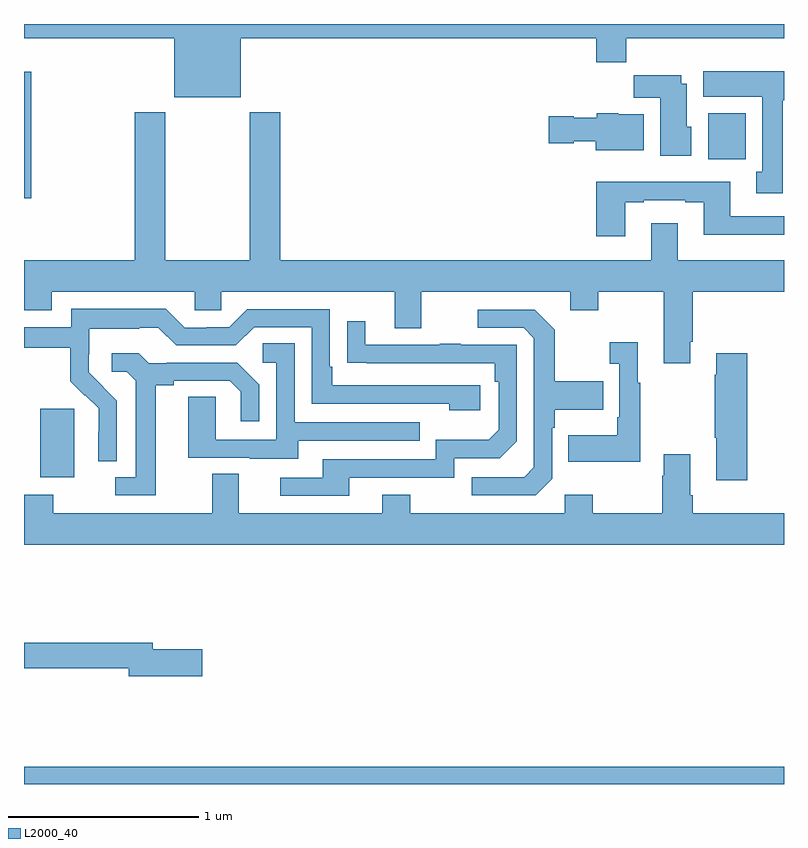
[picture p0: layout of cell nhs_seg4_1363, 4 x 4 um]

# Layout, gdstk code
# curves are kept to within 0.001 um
import gdstk
lib = gdstk.Library(unit=1e-6, precision=1e-09)
def R(c, l, rs):  # rectangles x0, y0, x1, y1
    for r in rs: c.add(gdstk.rectangle(r[:2], r[2:], *l))
def P(c, l, *ps):  # polygons
    for p in ps: c.add(gdstk.Polygon(p, *l))
L2000_40 = (2000, 40)

nhs_seg4_1363 = lib.new_cell('nhs_seg4_1363')
R(nhs_seg4_1363, L2000_40, [(181,788.9,185,788.992), (181.085,790.514,181.264,790.875), (181,791.982,181.037,792.649), (184.601,792.188,184.798,792.43)])
P(nhs_seg4_1363, L2000_40, [(182.14,792.824),(184.013,792.824),(184.013,792.7),(184.169,792.7),(184.169,792.824),(185,792.824),(185,792.9),(181,792.9),(181,792.824),(181.79,792.824),(181.79,792.515),(182.14,792.515)],
  [(184.993,792.498),(185,792.498),(185,792.652),(184.574,792.652),(184.574,792.518),(184.886,792.518),(184.886,792.122),(184.853,792.122),(184.853,792.009),(184.993,792.009)],
  [(184.513,792.36),(184.489,792.36),(184.489,792.586),(184.459,792.586),(184.459,792.631),(184.21,792.631),(184.21,792.512),(184.349,792.512),(184.349,792.206),(184.513,792.206)],
  [(184.507,791.227),(184.52,791.227),(184.52,791.492),(185,791.492),(185,791.656),(184.441,791.656),(184.441,791.851),(184.301,791.851),(184.301,791.656),(182.348,791.656),(182.348,792.436),(182.188,792.436),(182.188,791.656),(181.743,791.656),(181.743,792.436),(181.583,792.436),(181.583,791.656),(181,791.656),(181,791.393),(181.147,791.393),(181.147,791.492),(181.899,791.492),(181.899,791.394),(182.037,791.394),(182.037,791.492),(182.951,791.492),(182.951,791.298),(183.091,791.298),(183.091,791.492),(183.875,791.492),(183.875,791.393),(184.023,791.393),(184.023,791.492),(184.367,791.492),(184.367,791.115),(184.507,791.115)],
  [(184.261,792.424),(184.128,792.424),(184.128,792.43),(184.014,792.43),(184.014,792.406),(183.894,792.406),(183.894,792.414),(183.762,792.414),(183.762,792.272),(183.894,792.272),(183.894,792.284),(184.01,792.284),(184.01,792.236),(184.261,792.236)],
  [(184.165,791.961),(184.261,791.961),(184.261,791.973),(184.481,791.973),(184.481,791.961),(184.577,791.961),(184.577,791.792),(185,791.792),(185,791.889),(184.717,791.889),(184.717,792.07),(184.013,792.07),(184.013,791.784),(184.165,791.784)],
  [(181.488,790.918),(181.342,791.066),(181.342,791.163),(181.344,791.163),(181.344,791.297),(181.607,791.297),(181.607,791.301),(181.707,791.301),(181.8,791.208),(182.115,791.208),(182.211,791.304),(182.514,791.304),(182.514,790.902),(183.239,790.902),(183.239,790.868),(183.4,790.868),(183.4,790.998),(182.623,790.998),(182.623,791.095),(182.61,791.095),(182.61,791.4),(182.175,791.4),(182.079,791.304),(181.961,791.304),(181.961,791.301),(181.845,791.301),(181.745,791.401),(181.248,791.401),(181.248,791.304),(181,791.304),(181,791.196),(181.243,791.196),(181.243,791.021),(181.32,790.944),(181.323,790.947),(181.394,790.877),(181.394,790.754),(181.392,790.754),(181.392,790.6),(181.488,790.6)],
  [(183.78,790.506),(183.78,790.775),(183.793,790.775),(183.793,790.871),(184.049,790.871),(184.049,791.019),(183.793,791.019),(183.793,791.291),(183.687,791.397),(183.387,791.397),(183.387,791.301),(183.63,791.301),(183.684,791.247),(183.684,790.566),(183.633,790.515),(183.357,790.515),(183.357,790.419),(183.693,790.419)],
  [(182.713,790.512),(183.264,790.512),(183.264,790.614),(183.504,790.614),(183.594,790.704),(183.594,791.211),(183.299,791.211),(183.299,791.216),(183.187,791.216),(183.187,791.211),(182.797,791.211),(182.797,791.335),(182.701,791.335),(182.701,791.116),(183.478,791.115),(183.478,791.018),(183.498,791.018),(183.498,790.764),(183.445,790.711),(183.168,790.711),(183.168,790.608),(182.573,790.608),(182.573,790.512),(182.349,790.512),(182.349,790.416),(182.713,790.416)],
  [(184.243,791.011),(184.231,791.011),(184.231,791.224),(184.083,791.224),(184.083,791.111),(184.134,791.111),(184.134,790.831),(184.122,790.831),(184.122,790.735),(183.865,790.735),(183.865,790.595),(184.243,790.595)],
  [(182.443,790.707),(183.083,790.707),(183.083,790.803),(182.424,790.803),(182.424,791.219),(182.256,791.219),(182.256,791.118),(182.328,791.118),(182.328,790.713),(182.01,790.713),(182.01,790.937),(181.865,790.937),(181.865,790.617),(182.189,790.617),(182.189,790.613),(182.443,790.613)],
  [(181.693,791),(181.789,791),(181.789,791.022),(182.084,791.022),(182.141,790.965),(182.141,790.809),(182.238,790.809),(182.238,791.002),(182.122,791.118),(181.75,791.118),(181.75,791.115),(181.656,791.115),(181.604,791.167),(181.461,791.167),(181.461,791.07),(181.542,791.07),(181.589,791.023),(181.589,790.515),(181.479,790.515),(181.479,790.419),(181.693,790.419)],
  [(184.806,791.167),(184.643,791.167),(184.643,791.054),(184.636,791.054),(184.636,790.723),(184.643,790.723),(184.643,790.5),(184.806,790.5)],
  [(185,790.324),(184.52,790.324),(184.52,790.42),(184.507,790.42),(184.507,790.636),(184.367,790.636),(184.367,790.523),(184.36,790.523),(184.36,790.324),(183.993,790.324),(183.993,790.423),(183.846,790.423),(183.846,790.324),(183.033,790.324),(183.033,790.423),(182.885,790.423),(182.885,790.324),(182.131,790.324),(182.131,790.532),(181.991,790.532),(181.991,790.324),(181.155,790.324),(181.155,790.423),(181,790.423),(181,790.16),(185,790.16)],
  [(181.939,789.608),(181.678,789.608),(181.678,789.644),(181,789.644),(181,789.508),(181.55,789.508),(181.55,789.466),(181.939,789.466)])

lib.write_gds('nhs_seg4_1363.gds')
